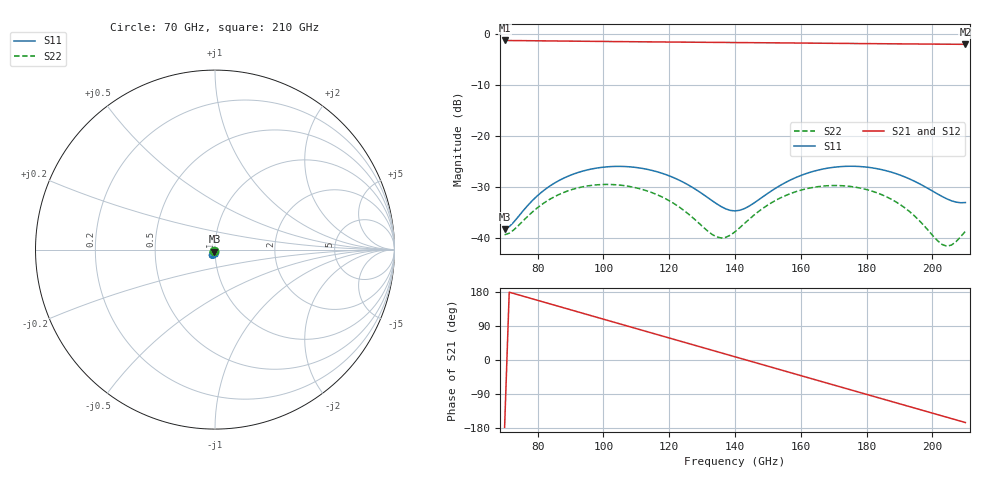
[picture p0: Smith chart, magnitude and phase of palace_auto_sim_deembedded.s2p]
! Created with skrf 1.11.0 (http://scikit-rf.org).
# GHz S DB R 50.0
!freq dBS11 angS11 dBS21 angS21 dBS12 angS12 dBS22 angS22
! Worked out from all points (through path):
!   101 points, 70 GHz to 210 GHz, reference 50 ohm
!   highest |S21| = -1.34 dB at 70 GHz (marker M1); lowest = -2.1 dB at 210 GHz (marker M2)
!   group delay of S21, straight-line fit = 6.89 ps
!   lowest |S11| = -38.3 dB at 70 GHz (marker M3), VSWR 1.02, Z = 49.7 - j1.17 ohm
!   |S11| at or under -10 dB: start of sweep to end of sweep
!   |S22| runs from -41.6 to -29.5 dB; largest |S21 - S12| = 1.4e-13
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70  -38.29 -105.1  -1.34 -177.6  -1.34 -177.6  -39.39 -116.0
72.8  -36.89 -85.5  -1.36 175.4  -1.36 175.4  -38.43 -99.4
81.2  -31.06 -73.9  -1.41 154.5  -1.41 154.5  -33.50 -89.3
86.8  -28.67 -80.6  -1.45 140.6  -1.45 140.6  -31.42 -97.0
93.8  -26.91 -92.7  -1.49 123.2  -1.49 123.2  -29.99 -110.6
100.8  -26.10 -106.0  -1.54 105.8  -1.54 105.8  -29.53 -125.6
106.4  -26.02 -116.5  -1.57 91.9  -1.57 91.9  -29.77 -137.6
117.6  -27.30 -135.4  -1.63 64.1  -1.63 64.1  -31.91 -158.8
126  -29.70 -144.1  -1.67 43.2  -1.67 43.2  -35.40 -166.5
134.4  -33.31 -137.8  -1.72 22.4  -1.72 22.4  -39.80 -145.8
137.2  -34.32 -129.1  -1.73 15.4  -1.73 15.4  -39.89 -130.3
140  -34.72 -117.5  -1.74 8.5  -1.74 8.5  -38.81 -117.4
144.2  -33.81 -101.1  -1.76 -1.9  -1.76 -1.9  -36.41 -108.5
151.2  -30.74 -90.5  -1.80 -19.3  -1.80 -19.3  -33.07 -110.7
163.8  -26.97 -100.1  -1.87 -50.6  -1.87 -50.6  -30.10 -131.9
170.8  -26.11 -110.2  -1.90 -68.0  -1.90 -68.0  -29.74 -146.2
176.4  -25.98 -118.7  -1.93 -81.9  -1.93 -81.9  -30.05 -157.6
187.6  -27.15 -133.8  -1.99 -109.6  -1.99 -109.6  -32.47 -178.3
194.6  -28.93 -139.0  -2.03 -126.9  -2.03 -126.9  -35.73 175.1
203  -31.91 -132.7  -2.06 -147.7  -2.06 -147.7  -41.32 -160.9
205.8  -32.74 -125.5  -2.08 -154.6  -2.08 -154.6  -41.39 -139.6
210  -33.08 -110.9  -2.09 -165.0  -2.09 -165.0  -38.70 -118.6
